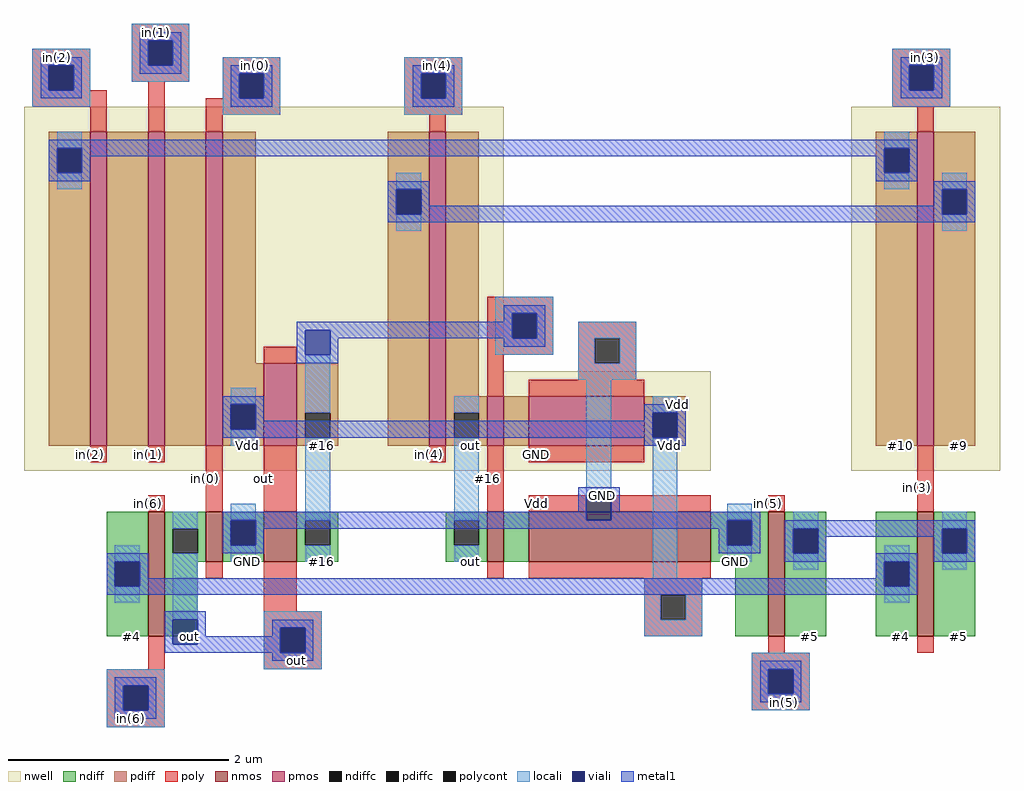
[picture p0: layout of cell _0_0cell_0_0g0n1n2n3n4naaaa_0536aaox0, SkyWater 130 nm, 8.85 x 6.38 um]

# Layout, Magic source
magic
tech sky130A
magscale 1 2
<< nwell >>
rect 75 555 945 1035
rect 75 375 1320 555
rect 1575 375 1845 1035
<< nmos >>
rect 300 75 330 300
rect 405 210 435 300
rect 510 210 570 300
rect 915 210 945 300
rect 990 210 1320 300
rect 1425 75 1455 300
rect 1695 75 1725 300
<< pmos >>
rect 195 420 225 990
rect 300 420 330 990
rect 405 420 435 990
rect 510 420 570 570
rect 810 420 840 990
rect 915 420 945 510
rect 990 420 1200 510
rect 1695 420 1725 990
<< ndiff >>
rect 225 210 300 300
rect 225 165 240 210
rect 285 165 300 210
rect 225 75 300 165
rect 330 270 405 300
rect 330 225 345 270
rect 390 225 405 270
rect 330 210 405 225
rect 435 285 510 300
rect 435 240 450 285
rect 495 240 510 285
rect 435 210 510 240
rect 570 285 645 300
rect 570 240 585 285
rect 630 240 645 285
rect 570 210 645 240
rect 840 285 915 300
rect 840 240 855 285
rect 900 240 915 285
rect 840 210 915 240
rect 945 210 990 300
rect 1320 285 1425 300
rect 1320 240 1350 285
rect 1395 240 1425 285
rect 1320 210 1425 240
rect 330 75 390 210
rect 1365 75 1425 210
rect 1455 270 1530 300
rect 1455 225 1470 270
rect 1515 225 1530 270
rect 1455 75 1530 225
rect 1620 210 1695 300
rect 1620 165 1635 210
rect 1680 165 1695 210
rect 1620 75 1695 165
rect 1725 270 1800 300
rect 1725 225 1740 270
rect 1785 225 1800 270
rect 1725 75 1800 225
<< pdiff >>
rect 120 960 195 990
rect 120 915 135 960
rect 180 915 195 960
rect 120 420 195 915
rect 225 420 300 990
rect 330 420 405 990
rect 435 570 495 990
rect 735 885 810 990
rect 735 840 750 885
rect 795 840 810 885
rect 435 495 510 570
rect 435 450 450 495
rect 495 450 510 495
rect 435 420 510 450
rect 570 480 645 570
rect 570 435 585 480
rect 630 435 645 480
rect 570 420 645 435
rect 735 420 810 840
rect 840 510 900 990
rect 1620 960 1695 990
rect 1620 915 1635 960
rect 1680 915 1695 960
rect 840 480 915 510
rect 840 435 855 480
rect 900 435 915 480
rect 840 420 915 435
rect 945 420 990 510
rect 1200 480 1275 510
rect 1200 435 1215 480
rect 1260 435 1275 480
rect 1200 420 1275 435
rect 1620 420 1695 915
rect 1725 885 1800 990
rect 1725 840 1740 885
rect 1785 840 1800 885
rect 1725 420 1800 840
<< ndiffc >>
rect 240 165 285 210
rect 345 225 390 270
rect 450 240 495 285
rect 585 240 630 285
rect 855 240 900 285
rect 1350 240 1395 285
rect 1470 225 1515 270
rect 1635 165 1680 210
rect 1740 225 1785 270
<< pdiffc >>
rect 135 915 180 960
rect 750 840 795 885
rect 450 450 495 495
rect 585 435 630 480
rect 1635 915 1680 960
rect 855 435 900 480
rect 1215 435 1260 480
rect 1740 840 1785 885
<< poly >>
rect 270 1155 375 1185
rect 90 1110 195 1140
rect 90 1065 120 1110
rect 165 1065 195 1110
rect 270 1110 300 1155
rect 345 1110 375 1155
rect 270 1080 375 1110
rect 435 1095 540 1125
rect 90 1035 225 1065
rect 195 990 225 1035
rect 300 990 330 1080
rect 435 1050 465 1095
rect 510 1050 540 1095
rect 405 1020 540 1050
rect 765 1095 870 1125
rect 765 1050 795 1095
rect 840 1050 870 1095
rect 765 1020 870 1050
rect 1650 1110 1755 1140
rect 1650 1065 1680 1110
rect 1725 1065 1755 1110
rect 1650 1035 1755 1065
rect 405 990 435 1020
rect 810 990 840 1020
rect 1695 990 1725 1035
rect 510 570 570 600
rect 915 660 1035 690
rect 915 615 960 660
rect 1005 615 1035 660
rect 915 585 1035 615
rect 1080 615 1185 645
rect 915 510 945 585
rect 1080 570 1110 615
rect 1155 570 1185 615
rect 1080 540 1185 570
rect 990 510 1200 540
rect 195 390 225 420
rect 300 390 330 420
rect 300 300 330 330
rect 405 300 435 420
rect 510 300 570 420
rect 810 390 840 420
rect 915 300 945 420
rect 990 390 1200 420
rect 990 300 1320 330
rect 1425 300 1455 330
rect 1695 300 1725 420
rect 405 180 435 210
rect 510 120 570 210
rect 915 180 945 210
rect 990 180 1320 210
rect 1200 150 1305 180
rect 510 90 615 120
rect 300 15 330 75
rect 510 45 540 90
rect 585 45 615 90
rect 1200 105 1230 150
rect 1275 105 1305 150
rect 1200 75 1305 105
rect 1425 45 1455 75
rect 1695 45 1725 75
rect 510 15 615 45
rect 1395 15 1500 45
rect 225 -15 330 15
rect 225 -60 255 -15
rect 300 -60 330 -15
rect 1395 -30 1425 15
rect 1470 -30 1500 15
rect 1395 -60 1500 -30
rect 225 -90 330 -60
<< polycont >>
rect 120 1065 165 1110
rect 300 1110 345 1155
rect 465 1050 510 1095
rect 795 1050 840 1095
rect 1680 1065 1725 1110
rect 960 615 1005 660
rect 1110 570 1155 615
rect 540 45 585 90
rect 1230 105 1275 150
rect 255 -60 300 -15
rect 1425 -30 1470 15
<< locali >>
rect 270 1155 375 1185
rect 90 1110 195 1140
rect 90 1065 120 1110
rect 165 1065 195 1110
rect 270 1110 300 1155
rect 345 1110 375 1155
rect 270 1080 375 1110
rect 435 1095 540 1125
rect 90 1035 195 1065
rect 435 1050 465 1095
rect 510 1050 540 1095
rect 435 1020 540 1050
rect 765 1095 870 1125
rect 765 1050 795 1095
rect 840 1050 870 1095
rect 765 1020 870 1050
rect 1650 1110 1755 1140
rect 1650 1065 1680 1110
rect 1725 1065 1755 1110
rect 1650 1035 1755 1065
rect 135 960 180 990
rect 1635 960 1680 990
rect 135 885 180 915
rect 750 885 795 915
rect 1635 885 1680 915
rect 1740 885 1785 915
rect 750 810 795 840
rect 1740 810 1785 840
rect 930 660 1035 690
rect 930 615 960 660
rect 1005 615 1035 660
rect 930 585 1035 615
rect 1080 615 1185 645
rect 450 495 495 525
rect 450 420 495 450
rect 585 480 630 585
rect 1080 570 1110 615
rect 1155 570 1185 615
rect 1080 540 1185 570
rect 345 270 390 300
rect 240 210 285 240
rect 240 135 285 165
rect 345 105 390 225
rect 450 285 495 315
rect 450 210 495 240
rect 585 285 630 435
rect 585 210 630 240
rect 855 480 900 510
rect 855 285 900 435
rect 1095 330 1140 540
rect 1215 480 1260 510
rect 855 210 900 240
rect 1215 180 1260 435
rect 1350 285 1395 315
rect 1350 210 1395 240
rect 1470 270 1515 300
rect 1740 270 1785 300
rect 1470 195 1515 225
rect 1635 210 1680 240
rect 1200 150 1305 180
rect 510 90 615 120
rect 510 45 540 90
rect 585 45 615 90
rect 1200 105 1230 150
rect 1275 105 1305 150
rect 1740 195 1785 225
rect 1635 135 1680 165
rect 1200 75 1305 105
rect 510 15 615 45
rect 1395 15 1500 45
rect 225 -15 330 15
rect 225 -60 255 -15
rect 300 -60 330 -15
rect 1395 -30 1425 15
rect 1470 -30 1500 15
rect 1395 -60 1500 -30
rect 225 -90 330 -60
<< viali >>
rect 120 1065 165 1110
rect 300 1110 345 1155
rect 465 1050 510 1095
rect 795 1050 840 1095
rect 1680 1065 1725 1110
rect 135 915 180 960
rect 1635 915 1680 960
rect 750 840 795 885
rect 1740 840 1785 885
rect 585 585 630 630
rect 960 615 1005 660
rect 450 450 495 495
rect 240 165 285 210
rect 450 240 495 285
rect 1095 285 1140 330
rect 1215 435 1260 480
rect 1350 240 1395 285
rect 1470 225 1515 270
rect 345 60 390 105
rect 540 45 585 90
rect 1635 165 1680 210
rect 1740 225 1785 270
rect 255 -60 300 -15
rect 1425 -30 1470 15
<< metal1 >>
rect 285 1155 360 1170
rect 105 1110 180 1125
rect 105 1065 120 1110
rect 165 1065 180 1110
rect 285 1110 300 1155
rect 345 1110 360 1155
rect 1665 1110 1740 1125
rect 285 1095 360 1110
rect 450 1095 525 1110
rect 105 1050 180 1065
rect 450 1050 465 1095
rect 510 1050 525 1095
rect 450 1035 525 1050
rect 780 1095 855 1110
rect 780 1050 795 1095
rect 840 1050 855 1095
rect 1665 1065 1680 1110
rect 1725 1065 1740 1110
rect 1665 1050 1740 1065
rect 780 1035 855 1050
rect 120 960 1695 975
rect 120 915 135 960
rect 180 945 1635 960
rect 180 915 195 945
rect 120 900 195 915
rect 1620 915 1635 945
rect 1680 915 1695 960
rect 1620 900 1695 915
rect 735 885 810 900
rect 735 840 750 885
rect 795 855 810 885
rect 1725 885 1800 900
rect 1725 855 1740 885
rect 795 840 1740 855
rect 1785 840 1800 885
rect 735 825 1800 840
rect 945 660 1020 675
rect 945 645 960 660
rect 570 630 960 645
rect 570 585 585 630
rect 630 615 960 630
rect 1005 615 1020 660
rect 630 585 645 615
rect 945 600 1020 615
rect 570 570 645 585
rect 435 495 510 510
rect 435 450 450 495
rect 495 465 510 495
rect 1200 480 1275 495
rect 1200 465 1215 480
rect 495 450 1215 465
rect 435 435 1215 450
rect 1260 435 1275 480
rect 1200 420 1275 435
rect 1080 330 1155 345
rect 1080 300 1095 330
rect 435 285 1095 300
rect 1140 300 1155 330
rect 1140 285 1410 300
rect 435 240 450 285
rect 495 270 1350 285
rect 495 240 510 270
rect 435 225 510 240
rect 1335 240 1350 270
rect 1395 240 1410 285
rect 1335 225 1410 240
rect 1455 270 1800 285
rect 1455 225 1470 270
rect 1515 255 1740 270
rect 1515 225 1530 255
rect 1725 225 1740 255
rect 1785 225 1800 270
rect 225 210 300 225
rect 1455 210 1530 225
rect 1620 210 1695 225
rect 1725 210 1800 225
rect 225 165 240 210
rect 285 180 300 210
rect 1620 180 1635 210
rect 285 165 1635 180
rect 1680 165 1695 210
rect 225 150 1695 165
rect 330 105 405 120
rect 330 60 345 105
rect 390 75 405 105
rect 525 90 600 105
rect 525 75 540 90
rect 390 60 540 75
rect 330 45 540 60
rect 585 45 600 90
rect 525 30 600 45
rect 1410 15 1485 30
rect 240 -15 315 0
rect 240 -60 255 -15
rect 300 -60 315 -15
rect 1410 -30 1425 15
rect 1470 -30 1485 15
rect 1410 -45 1485 -30
rect 240 -75 315 -60
<< labels >>
flabel ndiff 270 75 270 75 1 FreeSerif 120 0 0 0 #4
flabel ndiff 375 75 375 75 1 FreeSerif 120 0 0 0 out
flabel ndiff 1365 210 1365 210 1 FreeSerif 120 0 0 0 GND
flabel ndiff 1500 75 1500 75 1 FreeSerif 120 0 0 0 #5
flabel ndiff 1770 75 1770 75 1 FreeSerif 120 0 0 0 #5
flabel ndiff 1665 75 1665 75 1 FreeSerif 120 0 0 0 #4
flabel poly 1695 345 1695 345 3 FreeSerif 120 0 0 0 in(3)
flabel poly 1425 315 1425 315 3 FreeSerif 120 0 0 0 in(5)
flabel poly 1005 315 1005 315 3 FreeSerif 120 0 0 0 Vdd
flabel poly 1005 405 1005 405 3 FreeSerif 120 0 0 0 GND
flabel poly 915 360 915 360 3 FreeSerif 120 0 0 0 #16
flabel poly 810 405 810 405 3 FreeSerif 120 0 0 0 in(4)
flabel poly 510 360 510 360 3 FreeSerif 120 0 0 0 out
flabel poly 405 360 405 360 3 FreeSerif 120 0 0 0 in(0)
flabel poly 300 405 300 405 3 FreeSerif 120 0 0 0 in(1)
flabel poly 300 315 300 315 3 FreeSerif 120 0 0 0 in(6)
flabel poly 195 405 195 405 3 FreeSerif 120 0 0 0 in(2)
flabel ndiff 480 210 480 210 1 FreeSerif 120 0 0 0 GND
flabel ndiff 615 210 615 210 1 FreeSerif 120 0 0 0 #16
flabel ndiff 885 210 885 210 1 FreeSerif 120 0 0 0 out
flabel pdiff 1770 420 1770 420 1 FreeSerif 120 0 0 0 #9
flabel pdiff 1665 420 1665 420 1 FreeSerif 120 0 0 0 #10
flabel pdiff 1245 420 1245 420 1 FreeSerif 120 0 0 0 Vdd
flabel pdiff 885 420 885 420 1 FreeSerif 120 0 0 0 out
flabel pdiff 780 420 780 420 1 FreeSerif 120 0 0 0 #9
flabel pdiff 615 420 615 420 1 FreeSerif 120 0 0 0 #16
flabel pdiff 480 420 480 420 1 FreeSerif 120 0 0 0 Vdd
flabel pdiff 165 420 165 420 1 FreeSerif 120 0 0 0 #10
flabel metal1 1125 330 1125 330 1 FreeSerif 120 0 0 0 GND
port 1 n
flabel metal1 1260 495 1260 495 1 FreeSerif 120 0 0 0 Vdd
port 2 n
flabel metal1 270 -75 270 -75 5 FreeSerif 120 0 0 0 in(6)
port 3 s
flabel metal1 1455 -45 1455 -45 5 FreeSerif 120 0 0 0 in(5)
port 4 s
flabel metal1 825 1110 825 1110 1 FreeSerif 120 0 0 0 in(4)
port 5 n
flabel metal1 1710 1125 1710 1125 1 FreeSerif 120 0 0 0 in(3)
port 6 n
flabel metal1 135 1125 135 1125 1 FreeSerif 120 0 0 0 in(2)
port 7 n
flabel metal1 315 1170 315 1170 1 FreeSerif 120 0 0 0 in(1)
port 8 n
flabel metal1 570 30 570 30 5 FreeSerif 120 0 0 0 out
port 9 s
flabel metal1 495 1110 495 1110 1 FreeSerif 120 0 0 0 in(0)
port 10 n
<< end >>
